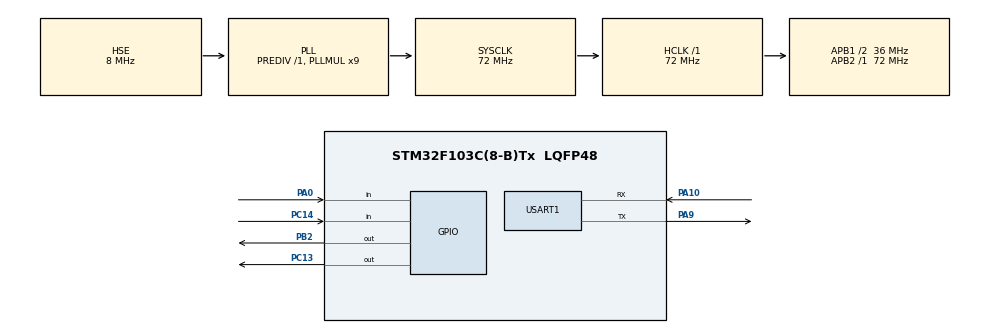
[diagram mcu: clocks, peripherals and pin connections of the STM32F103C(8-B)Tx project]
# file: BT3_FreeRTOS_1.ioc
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FREERTOS.Queues01=myQueue01,16,uint16_t,0,Dynamic,NULL,NULL
FREERTOS.Tasks01=Control_LED,0,128,StartDefaultTask,Default,NULL,Dynamic,NULL,NULL;Switch_Status,0,128,StartTask02,Default,NULL,Dynamic,NULL,NULL;Com_UART,0,128,StartTask03,Default,NULL,Dynamic,NULL,NULL
Mcu.Family=STM32F1
Mcu.Name=STM32F103C(8-B)Tx
Mcu.Package=LQFP48
NVIC.PriorityGroup=NVIC_PRIORITYGROUP_4
PA0-WKUP.GPIO_PuPd=GPIO_PULLUP
PA0-WKUP.Signal=GPIO_Input
PA10.Mode=Asynchronous
PA10.Signal=USART1_RX
PA13.Mode=Serial_Wire
PA13.Signal=SYS_JTMS-SWDIO
PA14.Mode=Serial_Wire
PA14.Signal=SYS_JTCK-SWCLK
PA9.Mode=Asynchronous
PA9.Signal=USART1_TX
PB2.Signal=GPIO_Output
PC13-TAMPER-RTC.Signal=GPIO_Output
PC14-OSC32_IN.GPIO_PuPd=GPIO_PULLUP
PC14-OSC32_IN.Signal=GPIO_Input
PD0-OSC_IN.Mode=HSE-External-Oscillator
PD0-OSC_IN.Signal=RCC_OSC_IN
PD1-OSC_OUT.Mode=HSE-External-Oscillator
PD1-OSC_OUT.Signal=RCC_OSC_OUT
ProjectManager.HeapSize=0x200
ProjectManager.StackSize=0x400
ProjectManager.TargetToolchain=STM32CubeIDE
RCC.AHBFreq_Value=72000000
RCC.APB1CLKDivider=RCC_HCLK_DIV2
RCC.APB1Freq_Value=36000000
RCC.APB1TimFreq_Value=72000000
RCC.APB2Freq_Value=72000000
RCC.APB2TimFreq_Value=72000000
RCC.HCLKFreq_Value=72000000
RCC.PLLMUL=RCC_PLL_MUL9
RCC.PLLSourceVirtual=RCC_PLLSOURCE_HSE
RCC.SYSCLKFreq_VALUE=72000000
RCC.SYSCLKSource=RCC_SYSCLKSOURCE_PLLCLK
RCC.USBFreq_Value=72000000
USART1.VirtualMode=VM_ASYNC
VP_FREERTOS_VS_CMSIS_V1.Mode=CMSIS_V1
board=custom

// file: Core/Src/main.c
/* USER CODE BEGIN Header */
/**
  ******************************************************************************
  * @file           : main.c
  * @brief          : Main program body
  ******************************************************************************
  * @attention
  *
  * <h2><center>&copy; Copyright (c) 2024 STMicroelectronics.
  * All rights reserved.</center></h2>
  *
  * This software component is licensed by ST under BSD 3-Clause license,
  * the "License"; You may not use this file except in compliance with the
  * License. You may obtain a copy of the License at:
  *                        opensource.org/licenses/BSD-3-Clause
  *
  ******************************************************************************
  */
/* USER CODE END Header */
#include "main.h"
#include "cmsis_os.h"

/* USER CODE BEGIN Includes */
#include "string.h"
/* USER CODE END Includes */

/* USER CODE BEGIN PD */
#define LENGTH_BF_MAX 15
/* USER CODE END PD */

UART_HandleTypeDef huart1;

osThreadId Control_LEDHandle;
osThreadId Switch_StatusHandle;
osThreadId Com_UARTHandle;
osMessageQId myQueue01Handle;

void SystemClock_Config(void);
static void MX_GPIO_Init(void);
static void MX_USART1_UART_Init(void);
void StartDefaultTask(void const * argument);
void StartTask02(void const * argument);
void StartTask03(void const * argument);

int main(void)
{

  /* MCU Configuration--------------------------------------------------------*/

  /* Reset of all peripherals, Initializes the Flash interface and the Systick. */
  HAL_Init();

  /* Configure the system clock */
  SystemClock_Config();

  /* Initialize all configured peripherals */
  MX_GPIO_Init();
  MX_USART1_UART_Init();

  /* Create the queue(s) */
  /* definition and creation of myQueue01 */
  osMessageQDef(myQueue01, 16, uint16_t);
  myQueue01Handle = osMessageCreate(osMessageQ(myQueue01), NULL);

  /* Create the thread(s) */
  /* definition and creation of Control_LED */
  osThreadDef(Control_LED, StartDefaultTask, osPriorityNormal, 0, 128);
  Control_LEDHandle = osThreadCreate(osThread(Control_LED), NULL);

  /* definition and creation of Switch_Status */
  osThreadDef(Switch_Status, StartTask02, osPriorityNormal, 0, 128);
  Switch_StatusHandle = osThreadCreate(osThread(Switch_Status), NULL);

  /* definition and creation of Com_UART */
  osThreadDef(Com_UART, StartTask03, osPriorityNormal, 0, 128);
  Com_UARTHandle = osThreadCreate(osThread(Com_UART), NULL);

  /* Start scheduler */
  osKernelStart();

  /* We should never get here as control is now taken by the scheduler */
  /* Infinite loop */
  while (1)
  {

  }
}

void SystemClock_Config(void)
{
  RCC_OscInitTypeDef RCC_OscInitStruct = {0};
  RCC_ClkInitTypeDef RCC_ClkInitStruct = {0};

  /** Initializes the RCC Oscillators according to the specified parameters
  * in the RCC_OscInitTypeDef structure.
  */
  RCC_OscInitStruct.OscillatorType = RCC_OSCILLATORTYPE_HSE;
  RCC_OscInitStruct.HSEState = RCC_HSE_ON;
  RCC_OscInitStruct.HSEPredivValue = RCC_HSE_PREDIV_DIV1;
  RCC_OscInitStruct.HSIState = RCC_HSI_ON;
  RCC_OscInitStruct.PLL.PLLState = RCC_PLL_ON;
  RCC_OscInitStruct.PLL.PLLSource = RCC_PLLSOURCE_HSE;
  RCC_OscInitStruct.PLL.PLLMUL = RCC_PLL_MUL9;
  if (HAL_RCC_OscConfig(&RCC_OscInitStruct) != HAL_OK)
  {
    Error_Handler();
  }
  /** Initializes the CPU, AHB and APB buses clocks
  */
  RCC_ClkInitStruct.ClockType = RCC_CLOCKTYPE_HCLK|RCC_CLOCKTYPE_SYSCLK
                              |RCC_CLOCKTYPE_PCLK1|RCC_CLOCKTYPE_PCLK2;
  RCC_ClkInitStruct.SYSCLKSource = RCC_SYSCLKSOURCE_PLLCLK;
  RCC_ClkInitStruct.AHBCLKDivider = RCC_SYSCLK_DIV1;
  RCC_ClkInitStruct.APB1CLKDivider = RCC_HCLK_DIV2;
  RCC_ClkInitStruct.APB2CLKDivider = RCC_HCLK_DIV1;

  if (HAL_RCC_ClockConfig(&RCC_ClkInitStruct, FLASH_LATENCY_2) != HAL_OK)
  {
    Error_Handler();
  }
}

static void MX_USART1_UART_Init(void)
{

  huart1.Instance = USART1;
  huart1.Init.BaudRate = 115200;
  huart1.Init.WordLength = UART_WORDLENGTH_8B;
  huart1.Init.StopBits = UART_STOPBITS_1;
  huart1.Init.Parity = UART_PARITY_NONE;
  huart1.Init.Mode = UART_MODE_TX_RX;
  huart1.Init.HwFlowCtl = UART_HWCONTROL_NONE;
  huart1.Init.OverSampling = UART_OVERSAMPLING_16;
  if (HAL_UART_Init(&huart1) != HAL_OK)
  {
    Error_Handler();
  }

}

static void MX_GPIO_Init(void)
{
  GPIO_InitTypeDef GPIO_InitStruct = {0};

  /* GPIO Ports Clock Enable */
  __HAL_RCC_GPIOC_CLK_ENABLE();
  __HAL_RCC_GPIOD_CLK_ENABLE();
  __HAL_RCC_GPIOA_CLK_ENABLE();
  __HAL_RCC_GPIOB_CLK_ENABLE();

  /*Configure GPIO pin Output Level */
  HAL_GPIO_WritePin(GPIOC, GPIO_PIN_13, GPIO_PIN_RESET);

  /*Configure GPIO pin Output Level */
  HAL_GPIO_WritePin(GPIOB, GPIO_PIN_2, GPIO_PIN_RESET);

  /*Configure GPIO pin : PC13 */
  GPIO_InitStruct.Pin = GPIO_PIN_13;
  GPIO_InitStruct.Mode = GPIO_MODE_OUTPUT_PP;
  GPIO_InitStruct.Pull = GPIO_NOPULL;
  GPIO_InitStruct.Speed = GPIO_SPEED_FREQ_LOW;
  HAL_GPIO_Init(GPIOC, &GPIO_InitStruct);

  /*Configure GPIO pin : PC14 */
  GPIO_InitStruct.Pin = GPIO_PIN_14;
  GPIO_InitStruct.Mode = GPIO_MODE_INPUT;
  GPIO_InitStruct.Pull = GPIO_PULLUP;
  HAL_GPIO_Init(GPIOC, &GPIO_InitStruct);

  /*Configure GPIO pin : PA0 */
  GPIO_InitStruct.Pin = GPIO_PIN_0;
  GPIO_InitStruct.Mode = GPIO_MODE_INPUT;
  GPIO_InitStruct.Pull = GPIO_PULLUP;
  HAL_GPIO_Init(GPIOA, &GPIO_InitStruct);

  /*Configure GPIO pin : PB2 */
  GPIO_InitStruct.Pin = GPIO_PIN_2;
  GPIO_InitStruct.Mode = GPIO_MODE_OUTPUT_PP;
  GPIO_InitStruct.Pull = GPIO_NOPULL;
  GPIO_InitStruct.Speed = GPIO_SPEED_FREQ_LOW;
  HAL_GPIO_Init(GPIOB, &GPIO_InitStruct);

}

void StartDefaultTask(void const * argument)		// control led
{
  /* USER CODE BEGIN 5 */
  /* Infinite loop */
	uint8_t led_state = 0; // Initially LED is off
  for(;;)
  {
     if (xQueueReceive(myQueue01Handle, &led_state, portMAX_DELAY) == pdPASS) {
    	 if(led_state == 1) {
    		 HAL_GPIO_WritePin(GPIOC, GPIO_PIN_13, SET);
    	 }
    	 else if (led_state == 0) {
    		 HAL_GPIO_WritePin(GPIOC, GPIO_PIN_13, RESET);
    	 }
    	 else if (led_state == 2) {
    		 HAL_GPIO_TogglePin(GPIOC, GPIO_PIN_13);
    	 }
     }
      osDelay(1);
  /* USER CODE END 5 */
}

/* USER CODE BEGIN Header_StartTask02 */
}
/**
* @brief Function implementing the Switch_Status thread.
* @param argument: Not used
* @retval None
*/
/* USER CODE END Header_StartTask02 */
void StartTask02(void const * argument)		// status of switch
{
  /* USER CODE BEGIN StartTask02 */
  /* Infinite loop */
	uint8_t switchStatus = 1;

  for(;;)
  {
	  if(HAL_GPIO_ReadPin(GPIOC, GPIO_PIN_14) == RESET){
		  switchStatus = 2;
		  xQueueSend(myQueue01Handle, &switchStatus, portMAX_DELAY);
		  osDelay(100);
		  while(HAL_GPIO_ReadPin(GPIOC, GPIO_PIN_14) == RESET);
	  }
	  osDelay(1);
  }
  /* USER CODE END StartTask02 */
}

void StartTask03(void const * argument)		// serial comunication
{
  /* USER CODE BEGIN StartTask03 */
  /* Infinite loop */
	char rxBuffer[LENGTH_BF_MAX];
	int index = 0;
  for(;;)
  {
	    while(1) {
	        if (HAL_UART_Receive(&huart1, (uint8_t*)&rxBuffer[index], 1, portMAX_DELAY) == HAL_OK) {

	        		if (strncmp(rxBuffer, "ON\\CR\\LF",10) == 0) {
	                    uint8_t on_command = 1;
	                    xQueueSend(myQueue01Handle, &on_command, portMAX_DELAY);
		                index = 0;
		                clearMsg(rxBuffer,LENGTH_BF_MAX);
	                }
	                else if (strncmp(rxBuffer, "OFF\\CR\\LF",11) == 0) {
	                    uint8_t on_command = 0;
	                    xQueueSend(myQueue01Handle, &on_command, portMAX_DELAY);
		                index = 0;
		                clearMsg(rxBuffer,LENGTH_BF_MAX);
	                }
	                else if (strncmp(rxBuffer, "TOGGLE\\CR\\LF",14) == 0) {
	                    uint8_t on_command = 2;
	                    xQueueSend(myQueue01Handle, &on_command, portMAX_DELAY);
		                index = 0;
		                clearMsg(rxBuffer,LENGTH_BF_MAX);
	                }
	                else  index++;
	        }

	    }
    osDelay(1);
  }
  /* USER CODE END StartTask03 */
}
void clearMsg(char* arr, int len){
	for(int i = 0; i < len ; i++){
		*arr = '\0';
		arr++;
	}
}
void Error_Handler(void)
{
  __disable_irq();
  while (1)
  {
  }
}

/************************ (C) COPYRIGHT STMicroelectronics *****END OF FILE****/
